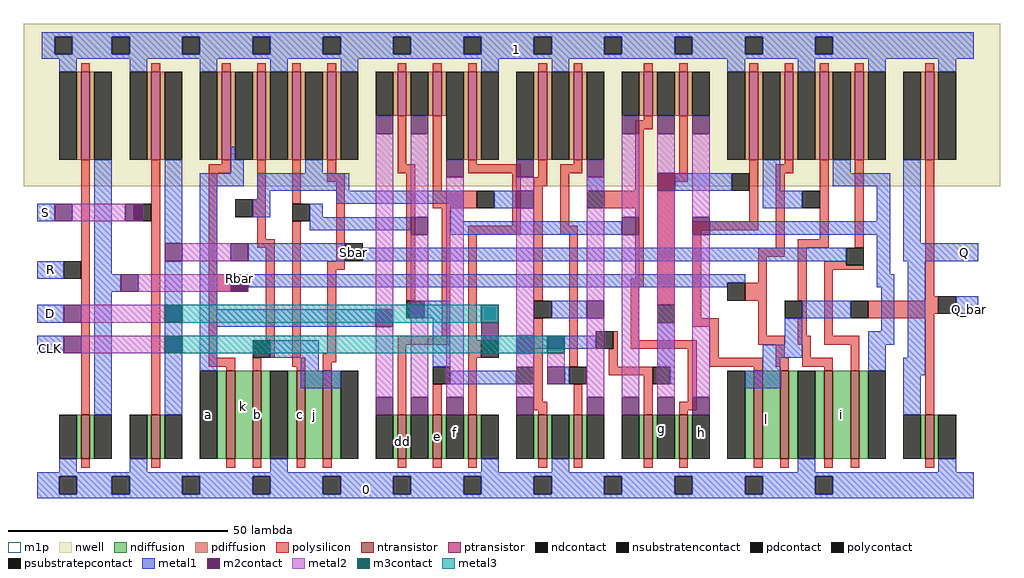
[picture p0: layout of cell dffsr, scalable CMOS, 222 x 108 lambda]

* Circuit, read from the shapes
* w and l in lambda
.subckt dffsr 0 1 CLK D Q Q_bar R Rbar S Sbar a b c dd e f g h i j k l
M1 Rbar R 0 0 nfet w=10 l=2
M2 Sbar S 0 0 nfet w=10 l=2
M3 k Rbar a 0 nfet w=20 l=2
M4 0 b k 0 nfet w=20 l=2
M5 j c 0 0 nfet w=20 l=2
M6 b Sbar j 0 nfet w=20 l=2
M7 c dd a 0 nfet w=10 l=2
M8 f e c 0 nfet w=10 l=2
M9 0 D f 0 nfet w=10 l=2
M10 0 e dd 0 nfet w=10 l=2
M11 e CLK 0 0 nfet w=10 l=2
M12 g dd b 0 nfet w=10 l=2
M13 h e g 0 nfet w=10 l=2
M14 l g Q_bar 0 nfet w=20 l=2
M15 0 Rbar l 0 nfet w=20 l=2
M16 i Q_bar 0 0 nfet w=20 l=2
M17 h Sbar i 0 nfet w=20 l=2
M18 0 Q_bar Q 0 nfet w=10 l=2
M19 Rbar R 1 1 pfet w=20 l=2
M20 Sbar S 1 1 pfet w=20 l=2
M21 a Rbar 1 1 pfet w=20 l=2
M22 1 b a 1 pfet w=20 l=2
M23 b c 1 1 pfet w=20 l=2
M24 1 Sbar b 1 pfet w=20 l=2
M25 c e a 1 pfet w=10 l=2
M26 f dd c 1 pfet w=10 l=2
M27 1 D f 1 pfet w=20 l=2
M28 1 e dd 1 pfet w=20 l=2
M29 e CLK 1 1 pfet w=20 l=2
M30 g e b 1 pfet w=10 l=2
M31 h dd g 1 pfet w=10 l=2
M32 Q_bar g 1 1 pfet w=20 l=2
M33 1 Rbar Q_bar 1 pfet w=20 l=2
M34 h Q_bar 1 1 pfet w=20 l=2
M35 1 Sbar h 1 pfet w=20 l=2
M36 1 Q_bar Q 1 pfet w=20 l=2
.ends

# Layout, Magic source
magic
tech scmos
<< nwell >>
rect -38 68 184 105
<< ntransistor >>
rect -25 6 -23 16
rect -9 6 -7 16
rect 8 6 10 26
rect 14 6 16 26
rect 24 6 26 26
rect 30 6 32 26
rect 47 6 49 16
rect 55 6 57 16
rect 63 6 65 16
rect 79 6 81 16
rect 87 6 89 16
rect 103 6 105 16
rect 111 6 113 16
rect 128 6 130 26
rect 134 6 136 26
rect 144 6 146 26
rect 150 6 152 26
rect 167 6 169 16
<< ptransistor >>
rect -25 74 -23 94
rect -9 74 -7 94
rect 7 74 9 94
rect 15 74 17 94
rect 23 74 25 94
rect 31 74 33 94
rect 47 84 49 94
rect 55 84 57 94
rect 63 74 65 94
rect 79 74 81 94
rect 87 74 89 94
rect 103 84 105 94
rect 111 84 113 94
rect 127 74 129 94
rect 135 74 137 94
rect 143 74 145 94
rect 151 74 153 94
rect 167 74 169 94
<< ndiffusion >>
rect -26 6 -25 16
rect -23 6 -22 16
rect -10 6 -9 16
rect -7 6 -6 16
rect 6 6 8 26
rect 10 6 14 26
rect 16 6 18 26
rect 22 6 24 26
rect 26 6 30 26
rect 32 6 34 26
rect 46 6 47 16
rect 49 6 50 16
rect 54 6 55 16
rect 57 6 58 16
rect 62 6 63 16
rect 65 6 66 16
rect 78 6 79 16
rect 81 6 82 16
rect 86 6 87 16
rect 89 6 90 16
rect 102 6 103 16
rect 105 6 106 16
rect 110 6 111 16
rect 113 6 114 16
rect 126 6 128 26
rect 130 6 134 26
rect 136 6 138 26
rect 142 6 144 26
rect 146 6 150 26
rect 152 6 154 26
rect 166 6 167 16
rect 169 6 170 16
<< pdiffusion >>
rect -26 74 -25 94
rect -23 74 -22 94
rect -10 74 -9 94
rect -7 74 -6 94
rect 6 74 7 94
rect 9 74 10 94
rect 14 74 15 94
rect 17 74 18 94
rect 22 74 23 94
rect 25 74 26 94
rect 30 74 31 94
rect 33 74 34 94
rect 46 84 47 94
rect 49 84 50 94
rect 54 84 55 94
rect 57 84 58 94
rect 62 74 63 94
rect 65 74 66 94
rect 78 74 79 94
rect 81 74 82 94
rect 86 74 87 94
rect 89 74 90 94
rect 102 84 103 94
rect 105 84 106 94
rect 110 84 111 94
rect 113 84 114 94
rect 126 74 127 94
rect 129 74 130 94
rect 134 74 135 94
rect 137 74 138 94
rect 142 74 143 94
rect 145 74 146 94
rect 150 74 151 94
rect 153 74 154 94
rect 166 74 167 94
rect 169 74 170 94
<< ndcontact >>
rect -30 6 -26 16
rect -22 6 -18 16
rect -14 6 -10 16
rect -6 6 -2 16
rect 2 6 6 26
rect 18 6 22 26
rect 34 6 38 26
rect 42 6 46 16
rect 50 6 54 16
rect 58 6 62 16
rect 66 6 70 16
rect 74 6 78 16
rect 82 6 86 16
rect 90 6 94 16
rect 98 6 102 16
rect 106 6 110 16
rect 114 6 118 16
rect 122 6 126 26
rect 138 6 142 26
rect 154 6 158 26
rect 162 6 166 16
rect 170 6 174 16
<< pdcontact >>
rect -30 74 -26 94
rect -22 74 -18 94
rect -14 74 -10 94
rect -6 74 -2 94
rect 2 74 6 94
rect 10 74 14 94
rect 18 74 22 94
rect 26 74 30 94
rect 34 74 38 94
rect 42 84 46 94
rect 50 84 54 94
rect 58 74 62 94
rect 66 74 70 94
rect 74 74 78 94
rect 82 74 86 94
rect 90 74 94 94
rect 98 84 102 94
rect 106 84 110 94
rect 114 84 118 94
rect 122 74 126 94
rect 130 74 134 94
rect 138 74 142 94
rect 146 74 150 94
rect 154 74 158 94
rect 162 74 166 94
rect 170 74 174 94
<< psubstratepcontact >>
rect -30 -2 -26 2
rect -18 -2 -14 2
rect -2 -2 2 2
rect 14 -2 18 2
rect 30 -2 34 2
rect 46 -2 50 2
rect 62 -2 66 2
rect 78 -2 82 2
rect 94 -2 98 2
rect 110 -2 114 2
rect 126 -2 130 2
rect 142 -2 146 2
<< nsubstratencontact >>
rect -31 98 -27 102
rect -18 98 -14 102
rect -2 98 2 102
rect 14 98 18 102
rect 30 98 34 102
rect 46 98 50 102
rect 62 98 66 102
rect 78 98 82 102
rect 94 98 98 102
rect 110 98 114 102
rect 126 98 130 102
rect 142 98 146 102
<< polysilicon >>
rect -25 94 -23 96
rect -9 94 -7 96
rect 7 94 9 96
rect 15 94 17 96
rect 23 94 25 96
rect 31 94 33 96
rect 47 94 49 96
rect 55 94 57 96
rect 63 94 65 96
rect 79 94 81 96
rect 87 94 89 96
rect 103 94 105 96
rect 111 94 113 96
rect 127 94 129 96
rect 135 94 137 96
rect 143 94 145 96
rect 151 94 153 96
rect 167 94 169 96
rect -25 16 -23 74
rect -9 16 -7 74
rect 7 73 9 74
rect 4 71 9 73
rect 4 48 6 71
rect 15 65 17 74
rect 14 61 17 65
rect 15 56 17 61
rect 23 64 25 74
rect 31 71 33 74
rect 47 73 49 84
rect 47 71 51 73
rect 31 69 35 71
rect 15 54 19 56
rect 4 44 9 48
rect 4 29 6 44
rect 17 33 19 54
rect 18 29 19 33
rect 23 29 25 60
rect 33 51 35 69
rect 31 49 35 51
rect 31 30 33 49
rect 49 42 51 71
rect 55 67 57 84
rect 103 83 105 84
rect 101 81 105 83
rect 63 73 65 74
rect 63 71 75 73
rect 55 63 65 67
rect 57 34 59 63
rect 73 59 75 71
rect 79 70 81 74
rect 87 73 89 74
rect 4 27 10 29
rect 8 26 10 27
rect 14 26 16 29
rect 23 27 26 29
rect 24 26 26 27
rect 30 28 33 30
rect 47 32 59 34
rect 63 57 75 59
rect 78 68 81 70
rect 84 71 89 73
rect 63 33 65 57
rect 78 42 80 68
rect 84 59 86 71
rect 101 67 103 81
rect 111 71 113 84
rect 94 63 103 67
rect 84 57 88 59
rect 30 26 32 28
rect 47 16 49 32
rect 63 29 66 33
rect 55 16 57 23
rect 63 16 65 29
rect 78 19 80 38
rect 86 27 88 57
rect 101 47 103 63
rect 100 45 103 47
rect 106 69 113 71
rect 96 31 97 35
rect 100 33 102 45
rect 106 41 110 69
rect 127 60 129 74
rect 135 73 137 74
rect 114 58 129 60
rect 133 71 137 73
rect 114 38 116 58
rect 133 54 135 71
rect 143 56 145 74
rect 129 52 135 54
rect 138 54 145 56
rect 151 54 153 74
rect 129 46 131 52
rect 126 42 131 46
rect 138 42 140 54
rect 114 36 120 38
rect 100 31 115 33
rect 95 27 97 31
rect 95 25 105 27
rect 78 17 81 19
rect 79 16 81 17
rect 87 16 89 23
rect 103 16 105 25
rect 113 19 115 31
rect 118 29 120 36
rect 129 34 131 42
rect 139 38 140 42
rect 138 34 140 38
rect 144 50 149 51
rect 144 49 153 50
rect 144 34 146 49
rect 167 43 169 74
rect 167 42 170 43
rect 154 39 170 42
rect 154 38 169 39
rect 129 32 135 34
rect 138 32 141 34
rect 144 32 152 34
rect 133 29 135 32
rect 139 29 141 32
rect 118 27 130 29
rect 133 27 136 29
rect 139 27 146 29
rect 128 26 130 27
rect 134 26 136 27
rect 144 26 146 27
rect 150 26 152 32
rect 111 17 115 19
rect 111 16 113 17
rect 167 16 169 38
rect -25 4 -23 6
rect -9 4 -7 6
rect 8 4 10 6
rect 14 4 16 6
rect 24 4 26 6
rect 30 4 32 6
rect 47 4 49 6
rect 55 4 57 6
rect 63 4 65 6
rect 79 4 81 6
rect 87 4 89 6
rect 103 4 105 6
rect 111 4 113 6
rect 128 4 130 6
rect 134 4 136 6
rect 144 4 146 6
rect 150 4 152 6
rect 167 4 169 6
<< polycontact >>
rect -29 47 -25 51
rect -13 60 -9 64
rect 10 61 14 65
rect 23 60 27 64
rect 9 44 13 48
rect 14 29 18 33
rect 35 51 39 55
rect 65 63 69 67
rect 49 38 53 42
rect 90 63 94 67
rect 78 38 82 42
rect 66 29 70 33
rect 55 23 59 27
rect 74 23 78 27
rect 92 31 96 35
rect 123 67 127 71
rect 106 37 110 41
rect 139 63 143 67
rect 122 42 126 46
rect 86 23 90 27
rect 105 23 109 27
rect 135 38 139 42
rect 149 50 153 54
rect 150 38 154 42
rect 170 39 174 43
<< metal1 >>
rect -34 102 178 103
rect -34 98 -31 102
rect -27 98 -18 102
rect -14 98 -2 102
rect 2 98 14 102
rect 18 98 30 102
rect 34 98 46 102
rect 50 98 62 102
rect 66 98 78 102
rect 82 98 94 102
rect 98 98 110 102
rect 114 98 126 102
rect 130 98 142 102
rect 146 98 178 102
rect -34 97 178 98
rect -30 94 -26 97
rect -14 94 -10 97
rect 2 94 6 97
rect 18 94 22 97
rect 34 94 38 97
rect 66 94 70 97
rect 82 94 86 97
rect 122 94 126 97
rect 138 94 142 97
rect 154 94 158 97
rect 170 94 174 97
rect 9 74 10 77
rect -35 60 -31 64
rect -35 47 -29 51
rect -22 48 -18 74
rect -6 55 -2 74
rect 9 71 12 74
rect 26 71 30 74
rect -22 44 -16 48
rect -35 37 -29 41
rect -35 30 -29 34
rect -22 16 -18 44
rect -6 16 -2 51
rect 2 68 12 71
rect 2 40 6 68
rect 15 67 36 71
rect 90 67 94 70
rect 110 67 123 71
rect 130 67 134 74
rect 146 71 150 74
rect 146 68 159 71
rect 15 65 18 67
rect 14 61 18 65
rect 33 64 62 67
rect 27 61 30 64
rect 27 58 50 61
rect 59 60 62 64
rect 69 63 74 67
rect 130 63 139 67
rect 59 57 98 60
rect 156 60 159 68
rect 118 57 159 60
rect 13 51 35 55
rect 39 51 149 54
rect 156 48 159 57
rect 162 55 166 74
rect 162 51 179 55
rect 13 46 126 48
rect 13 45 122 46
rect 156 45 160 48
rect 2 36 42 40
rect 53 38 59 42
rect 82 38 90 42
rect 2 26 6 36
rect 18 29 29 33
rect 25 26 29 29
rect 55 27 59 38
rect 78 31 92 34
rect 106 27 110 37
rect 139 38 150 42
rect 135 32 139 38
rect 157 35 160 45
rect 25 22 34 26
rect 59 23 74 26
rect 85 23 86 27
rect 109 23 110 27
rect 130 29 139 32
rect 154 32 160 35
rect 130 26 134 29
rect 154 26 158 32
rect 163 29 167 51
rect 174 39 179 43
rect 126 22 134 26
rect 162 25 167 29
rect 162 16 166 25
rect -30 3 -26 6
rect -14 3 -10 6
rect 18 3 22 6
rect 66 3 70 6
rect 82 3 86 6
rect 138 3 142 6
rect 170 3 174 6
rect -35 2 178 3
rect -35 -2 -30 2
rect -26 -2 -18 2
rect -14 -2 -2 2
rect 2 -2 14 2
rect 18 -2 30 2
rect 34 -2 46 2
rect 50 -2 62 2
rect 66 -2 78 2
rect 82 -2 94 2
rect 98 -2 110 2
rect 114 -2 126 2
rect 130 -2 142 2
rect 146 -2 178 2
rect -35 -3 178 -2
<< m2contact >>
rect 42 80 46 84
rect 50 80 54 84
rect 98 80 102 84
rect 106 80 110 84
rect 114 80 118 84
rect -31 60 -27 64
rect -15 60 -13 64
rect -13 60 -11 64
rect -6 51 -2 55
rect -16 44 -12 48
rect -29 37 -25 41
rect -29 30 -25 34
rect 58 70 62 74
rect 74 70 78 74
rect 90 70 94 74
rect 106 67 110 71
rect 50 57 54 61
rect 74 63 78 67
rect 98 57 102 61
rect 114 57 118 61
rect 9 51 13 55
rect 9 44 13 48
rect 42 36 46 40
rect 90 38 94 42
rect 66 33 70 37
rect 74 30 78 34
rect 81 23 85 27
rect 42 16 46 20
rect 50 16 54 20
rect 58 16 62 20
rect 74 16 78 20
rect 90 16 94 20
rect 98 16 102 20
rect 106 16 110 20
rect 114 16 118 20
<< metal2 >>
rect -27 60 -15 64
rect -2 51 9 55
rect -12 44 9 48
rect -25 37 -6 41
rect 42 40 46 80
rect -25 30 -6 34
rect 42 20 46 36
rect 50 61 54 80
rect 50 20 54 57
rect 58 20 62 70
rect 74 67 78 70
rect 74 34 78 63
rect 90 42 94 70
rect 74 20 78 30
rect 81 27 85 30
rect 90 20 94 38
rect 98 61 102 80
rect 98 20 102 57
rect 106 71 110 80
rect 106 20 110 67
rect 114 61 118 80
rect 114 20 118 57
<< m3contact >>
rect -6 37 -2 41
rect -6 30 -2 34
rect 66 37 70 41
rect 81 30 85 34
<< metal3 >>
rect -2 37 66 41
rect -2 30 81 34
<< m1p >>
rect 66 33 70 37
<< labels >>
rlabel metal1 40 -1 40 -1 1 0
rlabel metal1 74 99 74 99 1 1
rlabel polycontact 37 53 37 53 1 Sbar
rlabel polycontact 11 47 11 47 1 Rbar
rlabel ndcontact 4 16 4 16 1 a
rlabel ntransistor 15 16 15 16 1 b
rlabel ntransistor 25 16 25 16 1 c
rlabel ntransistor 56 11 56 11 1 e
rlabel ndcontact 60 12 60 12 1 f
rlabel ntransistor 48 10 48 10 1 dd
rlabel ndcontact 107 13 107 13 1 g
rlabel ndcontact 116 12 116 12 1 h
rlabel ndiffusion 148 16 148 16 1 i
rlabel ndiffusion 28 16 28 16 1 j
rlabel ndiffusion 12 18 12 18 1 k
rlabel ndiffusion 131 15 131 15 1 l
rlabel metal1 -33 62 -33 62 3 S
rlabel metal1 -32 49 -32 49 1 R
rlabel metal1 -32 39 -32 39 1 D
rlabel metal1 -32 31 -32 31 1 CLK
rlabel metal1 177 40 177 40 1 Q_bar
rlabel metal1 176 53 176 53 1 Q
<< end >>
